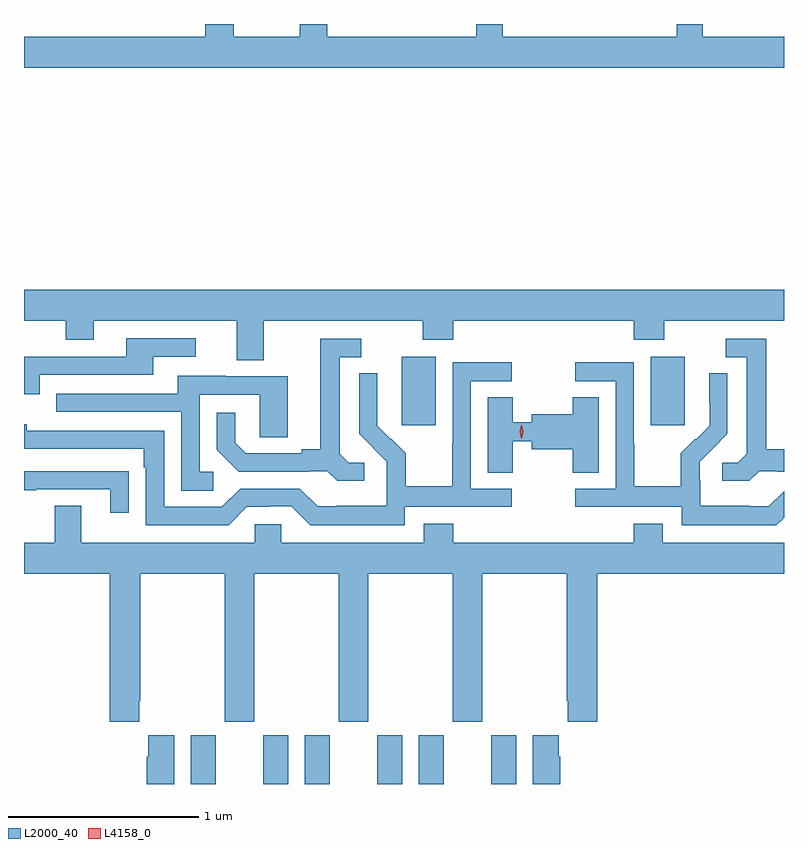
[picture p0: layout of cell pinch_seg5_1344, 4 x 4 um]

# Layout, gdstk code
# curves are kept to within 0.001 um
import gdstk
lib = gdstk.Library(unit=1e-6, precision=1e-09)
def R(c, l, rs):  # rectangles x0, y0, x1, y1
    for r in rs: c.add(gdstk.rectangle(r[:2], r[2:], *l))
def P(c, l, *ps):  # polygons
    for p in ps: c.add(gdstk.Polygon(p, *l))
L2000_40 = (2000, 40)
L4158_0 = (4158, 0)

pinch_seg5_1344 = lib.new_cell('pinch_seg5_1344')
R(pinch_seg5_1344, L2000_40, [(312.308,907.602,312.439,907.858), (312.689,907.602,312.82,907.858), (312.908,907.602,313.039,907.858), (313.289,907.602,313.42,907.858), (313.508,907.602,313.639,907.858), (313.889,907.602,314.02,907.858), (313.418,909.489,313.597,909.85), (314.729,909.489,314.908,909.85)])
P(pinch_seg5_1344, L2000_40, [(315.43,911.536),(315.003,911.536),(315.003,911.602),(314.865,911.602),(314.865,911.536),(313.951,911.536),(313.951,911.602),(313.811,911.602),(313.811,911.536),(313.027,911.536),(313.027,911.602),(312.88,911.602),(312.88,911.536),(312.535,911.536),(312.535,911.602),(312.383,911.602),(312.383,911.536),(311.43,911.536),(311.43,911.372),(315.43,911.372)],
  [(312.691,910.04),(313.528,910.04),(313.528,909.941),(313.688,909.941),(313.688,910.04),(314.639,910.04),(314.639,909.941),(314.799,909.941),(314.799,910.04),(315.43,910.04),(315.43,910.204),(311.43,910.204),(311.43,910.04),(311.65,910.04),(311.65,909.941),(311.797,909.941),(311.797,910.04),(312.551,910.04),(312.551,909.832),(312.691,909.832)],
  [(311.514,909.756),(312.109,909.756),(312.109,909.852),(312.334,909.852),(312.334,909.948),(311.969,909.948),(311.969,909.852),(311.43,909.852),(311.43,909.653),(311.514,909.653)],
  [(313.222,909.294),(313.14,909.294),(313.093,909.341),(313.093,909.849),(313.204,909.849),(313.204,909.945),(312.989,909.945),(312.989,909.365),(312.893,909.365),(312.893,909.342),(312.598,909.342),(312.541,909.399),(312.541,909.556),(312.444,909.556),(312.444,909.362),(312.56,909.246),(312.932,909.246),(312.932,909.249),(313.026,909.249),(313.078,909.197),(313.222,909.197)],
  [(315.3,909.249),(315.394,909.249),(315.394,909.246),(315.43,909.246),(315.43,909.365),(315.337,909.365),(315.337,909.945),(315.123,909.945),(315.123,909.849),(315.233,909.849),(315.233,909.341),(315.186,909.294),(315.105,909.294),(315.105,909.197),(315.248,909.197)],
  [(313.434,909.06),(313.996,909.06),(313.996,909.156),(313.782,909.156),(313.782,909.723),(313.996,909.723),(313.996,909.822),(313.686,909.822),(313.686,909.392),(313.684,909.392),(313.684,909.169),(313.439,909.169),(313.439,909.343),(313.362,909.42),(313.359,909.417),(313.289,909.488),(313.29,909.764),(313.194,909.764),(313.194,909.446),(313.34,909.298),(313.34,909.201),(313.338,909.201),(313.338,909.067),(313.075,909.067),(313.075,909.063),(312.975,909.063),(312.882,909.156),(312.567,909.156),(312.471,909.06),(312.168,909.06),(312.168,909.462),(311.444,909.462),(311.444,909.496),(311.43,909.496),(311.43,909.366),(312.059,909.366),(312.059,909.269),(312.072,909.269),(312.072,908.964),(312.507,908.964),(312.603,909.06),(312.722,909.06),(312.722,909.063),(312.837,909.063),(312.937,908.963),(313.434,908.963)],
  [(315.43,909.004),(315.43,909.142),(315.351,909.063),(315.251,909.063),(315.251,909.067),(314.988,909.067),(314.988,909.201),(314.986,909.201),(314.986,909.298),(315.132,909.446),(315.132,909.764),(315.036,909.764),(315.036,909.61),(315.038,909.61),(315.038,909.488),(314.967,909.417),(314.964,909.42),(314.887,909.343),(314.887,909.169),(314.643,909.169),(314.643,909.392),(314.64,909.392),(314.64,909.822),(314.331,909.822),(314.331,909.723),(314.544,909.723),(314.544,909.156),(314.331,909.156),(314.331,909.06),(314.892,909.06),(314.892,908.963),(315.389,908.963)],
  [(312.427,909.246),(312.354,909.246),(312.354,909.651),(312.672,909.651),(312.672,909.427),(312.817,909.427),(312.817,909.747),(312.493,909.747),(312.493,909.751),(312.239,909.751),(312.239,909.657),(311.599,909.657),(311.599,909.561),(312.258,909.561),(312.258,909.145),(312.427,909.145)],
  [(314.002,909.406),(314.102,909.406),(314.102,909.365),(314.317,909.365),(314.317,909.241),(314.455,909.241),(314.455,909.638),(314.317,909.638),(314.317,909.548),(314.102,909.548),(314.102,909.506),(314.002,909.506),(314.002,909.638),(313.871,909.638),(313.871,909.241),(314.002,909.241)],
  [(311.981,909.248),(311.879,909.248),(311.879,909.249),(311.43,909.249),(311.43,909.148),(311.495,909.148),(311.495,909.153),(311.885,909.153),(311.885,909.03),(311.981,909.03)],
  [(312.037,908.041),(312.042,908.041),(312.042,908.708),(312.487,908.708),(312.487,907.929),(312.642,907.929),(312.642,908.708),(313.087,908.708),(313.087,907.929),(313.242,907.929),(313.242,908.708),(313.687,908.708),(313.687,907.929),(313.842,907.929),(313.842,908.708),(314.287,908.708),(314.287,908.041),(314.291,908.041),(314.291,907.929),(314.447,907.929),(314.447,908.708),(315.43,908.708),(315.43,908.872),(314.791,908.872),(314.791,908.971),(314.639,908.971),(314.639,908.872),(313.688,908.872),(313.688,908.971),(313.535,908.971),(313.535,908.872),(312.783,908.872),(312.783,908.97),(312.645,908.97),(312.645,908.872),(311.731,908.872),(311.731,909.067),(311.591,909.067),(311.591,908.872),(311.43,908.872),(311.43,908.708),(311.882,908.708),(311.882,907.929),(312.037,907.929)],
  [(312.22,907.858),(312.083,907.858),(312.083,907.745),(312.077,907.745),(312.077,907.602),(312.22,907.602)],
  [(314.252,907.745),(314.245,907.745),(314.245,907.858),(314.108,907.858),(314.108,907.602),(314.252,907.602)])
P(pinch_seg5_1344, L4158_0, [(314.048,909.42),(314.048,909.421),(314.038,909.455),(314.048,909.489),(314.048,909.489),(314.049,909.489),(314.058,909.455),(314.049,909.421)])

lib.write_gds('pinch_seg5_1344.gds')
